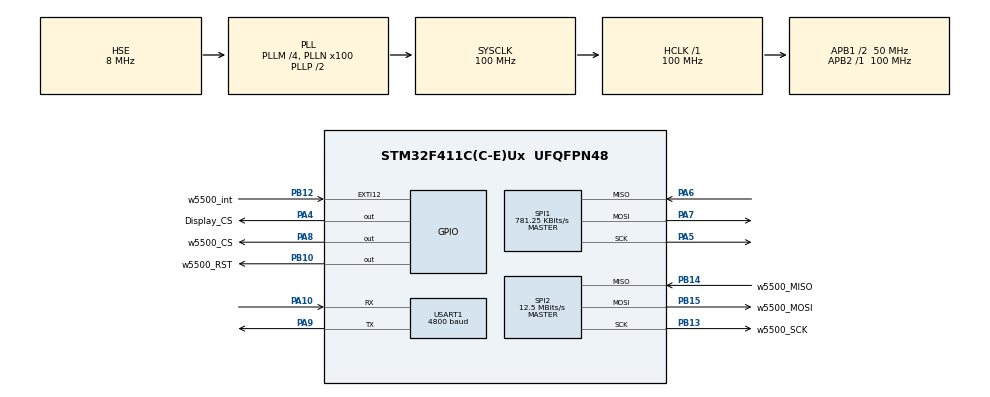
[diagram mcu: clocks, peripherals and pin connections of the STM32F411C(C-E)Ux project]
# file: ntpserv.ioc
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Dma.Request0=USART1_RX
Dma.USART1_RX.0.Direction=DMA_PERIPH_TO_MEMORY
Dma.USART1_RX.0.FIFOMode=DMA_FIFOMODE_DISABLE
Dma.USART1_RX.0.Instance=DMA2_Stream2
Dma.USART1_RX.0.MemDataAlignment=DMA_MDATAALIGN_BYTE
Dma.USART1_RX.0.MemInc=DMA_MINC_ENABLE
Dma.USART1_RX.0.Mode=DMA_NORMAL
Dma.USART1_RX.0.PeriphDataAlignment=DMA_PDATAALIGN_BYTE
Dma.USART1_RX.0.PeriphInc=DMA_PINC_DISABLE
Dma.USART1_RX.0.Priority=DMA_PRIORITY_MEDIUM
Mcu.Family=STM32F4
Mcu.Name=STM32F411C(C-E)Ux
Mcu.Package=UFQFPN48
NVIC.DMA2_Stream2_IRQn=true\:0\:0\:false\:false\:true\:false\:true\:true
NVIC.PriorityGroup=NVIC_PRIORITYGROUP_4
NVIC.TIM2_IRQn=true\:0\:0\:false\:false\:true\:true\:true\:true
NVIC.USART1_IRQn=true\:0\:0\:false\:false\:true\:true\:true\:true
PA10.Mode=Asynchronous
PA10.Signal=USART1_RX
PA13.Mode=Serial_Wire
PA13.Signal=SYS_JTMS-SWDIO
PA14.Mode=Serial_Wire
PA14.Signal=SYS_JTCK-SWCLK
PA4.GPIO_Label=Display_CS
PA4.Signal=GPIO_Output
PA5.Mode=Full_Duplex_Master
PA5.Signal=SPI1_SCK
PA6.Mode=Full_Duplex_Master
PA6.Signal=SPI1_MISO
PA7.Mode=Full_Duplex_Master
PA7.Signal=SPI1_MOSI
PA8.GPIO_Label=w5500_CS
PA8.Signal=GPIO_Output
PA9.Mode=Asynchronous
PA9.Signal=USART1_TX
PB10.GPIO_Label=w5500_RST
PB10.PinState=GPIO_PIN_SET
PB10.Signal=GPIO_Output
PB12.GPIO_Label=w5500_int
PB12.Signal=GPXTI12
PB13.GPIO_Label=w5500_SCK
PB13.Mode=Full_Duplex_Master
PB13.Signal=SPI2_SCK
PB14.GPIO_Label=w5500_MISO
PB14.Mode=Full_Duplex_Master
PB14.Signal=SPI2_MISO
PB15.GPIO_Label=w5500_MOSI
PB15.Mode=Full_Duplex_Master
PB15.Signal=SPI2_MOSI
PH0\ -\ OSC_IN.Mode=HSE-External-Oscillator
PH0\ -\ OSC_IN.Signal=RCC_OSC_IN
PH1\ -\ OSC_OUT.Mode=HSE-External-Oscillator
PH1\ -\ OSC_OUT.Signal=RCC_OSC_OUT
ProjectManager.HeapSize=0x200
ProjectManager.StackSize=0x400
ProjectManager.TargetToolchain=STM32CubeIDE
RCC.48MHZClocksFreq_Value=50000000
RCC.AHBFreq_Value=100000000
RCC.APB1CLKDivider=RCC_HCLK_DIV2
RCC.APB1Freq_Value=50000000
RCC.APB1TimFreq_Value=100000000
RCC.APB2Freq_Value=100000000
RCC.APB2TimFreq_Value=100000000
RCC.CortexFreq_Value=100000000
RCC.HCLKFreq_Value=100000000
RCC.HSE_VALUE=8000000
RCC.HSI_VALUE=16000000
RCC.LSE_VALUE=32768
RCC.PLLM=4
RCC.PLLN=100
RCC.PLLSourceVirtual=RCC_PLLSOURCE_HSE
RCC.SYSCLKFreq_VALUE=100000000
RCC.SYSCLKSource=RCC_SYSCLKSOURCE_PLLCLK
RCC.VCOOutputFreq_Value=200000000
SPI1.BaudRatePrescaler=SPI_BAUDRATEPRESCALER_128
SPI1.CalculateBaudRate=781.25 KBits/s
SPI1.DataSize=SPI_DATASIZE_16BIT
SPI1.Direction=SPI_DIRECTION_2LINES
SPI1.Mode=SPI_MODE_MASTER
SPI1.VirtualType=VM_MASTER
SPI2.BaudRatePrescaler=SPI_BAUDRATEPRESCALER_4
SPI2.CalculateBaudRate=12.5 MBits/s
SPI2.Direction=SPI_DIRECTION_2LINES
SPI2.Mode=SPI_MODE_MASTER
SPI2.VirtualType=VM_MASTER
TIM2.Period=999
TIM2.Prescaler=9999
TIM5.Period=4294967295
TIM5.Prescaler=99
USART1.BaudRate=4800
USART1.Mode=MODE_RX
USART1.VirtualMode=VM_ASYNC
VP_TIM2_VS_ClockSourceINT.Mode=Internal
VP_TIM5_VS_ClockSourceINT.Mode=Internal
board=custom

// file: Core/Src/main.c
/* USER CODE BEGIN Header */
/**
  ******************************************************************************
  * @file           : main.c
  * @brief          : Main program body
  ******************************************************************************
  * @attention
  *
  * Copyright (c) 2026 STMicroelectronics.
  * All rights reserved.
  *
  * This software is licensed under terms that can be found in the LICENSE file
  * in the root directory of this software component.
  * If no LICENSE file comes with this software, it is provided AS-IS.
  *
  ******************************************************************************
  */
/* USER CODE END Header */
#include "main.h"
#include "dma.h"
#include "spi.h"
#include "tim.h"
#include "usart.h"
#include "gpio.h"

/* USER CODE BEGIN Includes */

#include "ntp_server.h"
#include "w5500_port.h"
#include "watchdog.h"
#include "ring_buf.h"
#include "display.h"

/* USER CODE END Includes */

/* USER CODE BEGIN PD */
#define BAUD_RATE 4800
#define RX_BUF_SIZE 32

/* USER CODE END PD */

void SystemClock_Config(void);

/* USER CODE BEGIN 0 */

uint8_t rxbuf[RX_BUF_SIZE];
RingBuffer uart_rx_buf;

extern UART_HandleTypeDef huart1;
uint8_t uart_byte;

//extern uint8_t numbers[];

void HAL_UART_RxCpltCallback(UART_HandleTypeDef *huart){

  if (huart->Instance == USART1)
	{
		uint8_t data = uart_byte;

		if (data == 0xB6 || data == 0xA6 ||
			data == 0xB4 || data == 0xA4)
		{
			data = 0x24;
		}

		buffer_put_to_end(&uart_rx_buf, data);

		if (data == 0x24)
		{
			reset_uart_parser();
		}

		HAL_UART_Receive_IT(&huart1, &uart_byte, 1);
	}
}

void HAL_TIM_PeriodElapsedCallback(TIM_HandleTypeDef *htim)
{
    if(htim->Instance == TIM2)
    {
        reset_uart_parser();
        stop_watchdog();
    }
}

void init_ring_buffer(void){
	buffer_init(&uart_rx_buf, rxbuf, RX_BUF_SIZE);

}

/*
 *
 * void TIM2_IRQHandler()
{
	if(TIM2->SR & TIM_SR_UIF)
	{
		TIM2->SR = ~TIM_SR_UIF;
		reset_uart_parser();
		stop_watchdog();
	}
}
 *
 * */

/* USER CODE END 0 */

int main(void)
{

  /* MCU Configuration--------------------------------------------------------*/

  /* Reset of all peripherals, Initializes the Flash interface and the Systick. */
  HAL_Init();

  /* Configure the system clock */
  SystemClock_Config();

  /* Initialize all configured peripherals */
  MX_GPIO_Init();
  MX_DMA_Init();
  MX_SPI1_Init();
  MX_SPI2_Init();
  MX_TIM5_Init();
  MX_USART1_UART_Init();
  MX_TIM2_Init();
  /* USER CODE BEGIN 2 */

  HAL_TIM_Base_Start(&htim5);
  w5500_io_init();
  ntp_server_init();

  init_ring_buffer();
  HAL_UART_Receive_IT(&huart1, &uart_byte, 1);

	//init display (write "ready")

  	  // MAX7219 init
	display_send_data(0xC, 1); //normal operation
	display_send_data(0xF, 0); //normal operation
	display_send_data(0xA, 0xF); //max intensity
	display_send_data(0xB, 7); //scan all digits
	display_send_data(9, 0); //no decode for all digits

	// KATE
	display_send_data(5, 0b0101111); // K
	display_send_data(4, 0b1110111); // A
	display_send_data(3, 0b0000111); // T
	display_send_data(2, 0b1001111); // E

//	display_send_data(5, 0b101);
//	display_send_data(4, 0b1001111);
//	display_send_data(3, 0b1110111);
//	display_send_data(2, 0b0111101);
//	display_send_data(1, 0b10111011);

	display_send_data(6, 0);
	display_send_data(7, 0);
	display_send_data(8, 0);

  /* USER CODE END 2 */

  /* Infinite loop */
  /* USER CODE BEGIN WHILE */
  while (1)
  {

	  process_uart();

	  // ************ katev *********
	  ntp_server_process();
	  // ************ ******************

	  //HAL_Delay(200);

    /* USER CODE END WHILE */

  }
}

void SystemClock_Config(void)
{
  RCC_OscInitTypeDef RCC_OscInitStruct = {0};
  RCC_ClkInitTypeDef RCC_ClkInitStruct = {0};

  /** Configure the main internal regulator output voltage
  */
  __HAL_RCC_PWR_CLK_ENABLE();
  __HAL_PWR_VOLTAGESCALING_CONFIG(PWR_REGULATOR_VOLTAGE_SCALE1);

  /** Initializes the RCC Oscillators according to the specified parameters
  * in the RCC_OscInitTypeDef structure.
  */
  RCC_OscInitStruct.OscillatorType = RCC_OSCILLATORTYPE_HSE;
  RCC_OscInitStruct.HSEState = RCC_HSE_ON;
  RCC_OscInitStruct.PLL.PLLState = RCC_PLL_ON;
  RCC_OscInitStruct.PLL.PLLSource = RCC_PLLSOURCE_HSE;
  RCC_OscInitStruct.PLL.PLLM = 4;
  RCC_OscInitStruct.PLL.PLLN = 100;
  RCC_OscInitStruct.PLL.PLLP = RCC_PLLP_DIV2;
  RCC_OscInitStruct.PLL.PLLQ = 4;
  if (HAL_RCC_OscConfig(&RCC_OscInitStruct) != HAL_OK)
  {
    Error_Handler();
  }

  /** Initializes the CPU, AHB and APB buses clocks
  */
  RCC_ClkInitStruct.ClockType = RCC_CLOCKTYPE_HCLK|RCC_CLOCKTYPE_SYSCLK
                              |RCC_CLOCKTYPE_PCLK1|RCC_CLOCKTYPE_PCLK2;
  RCC_ClkInitStruct.SYSCLKSource = RCC_SYSCLKSOURCE_PLLCLK;
  RCC_ClkInitStruct.AHBCLKDivider = RCC_SYSCLK_DIV1;
  RCC_ClkInitStruct.APB1CLKDivider = RCC_HCLK_DIV2;
  RCC_ClkInitStruct.APB2CLKDivider = RCC_HCLK_DIV1;

  if (HAL_RCC_ClockConfig(&RCC_ClkInitStruct, FLASH_LATENCY_3) != HAL_OK)
  {
    Error_Handler();
  }
}

void Error_Handler(void)
{
  __disable_irq();
  while (1)
  {
  }
}
